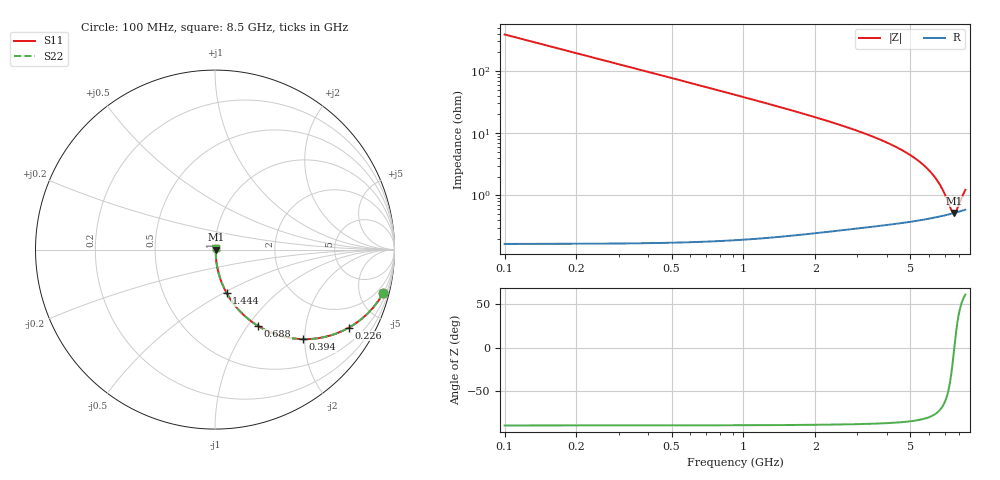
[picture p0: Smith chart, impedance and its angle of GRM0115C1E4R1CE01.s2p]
!Murata Part Number: GRM0115C1E4R1CE01
!These Parameters are Measured in Series Mode Connection
!Data Generated on Mar 30, 2021
!  o--ll--o
!Port1  Port2
!  o------o
!Operation Temp=25[degC], DC Bias Voltage=0[V]
!Freq. Start=100[MHz] Stop=9[GHz] 401[Steps]
# Hz S RI R 50
!Freq.(Hz) S11(Real) S11(Imag) S21(Real) S21(Imag) S12(Real) S12(Imag) S22(Real) S22(Imag)
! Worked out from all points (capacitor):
!   401 points, 100 MHz to 8.5 GHz, reference 50 ohm
!   read as one part in series: C = 4.1 pF near 142 MHz
!   lowest |Z| = 516 mohm at 7.618 GHz (marker M1)
!   series resonance near 7.639 GHz, so ESL is about 110 pH
!   S11 on the Smith chart (normalised r, x): 100 MHz: 1.00, -7.76; 226 MHz: 1.00, -3.43; 394 MHz: 1.00, -1.96; 688 MHz: 1.00, -1.12; 1.444 GHz: 1.00, -0.52; 8.5 GHz: 1.01, +0.02
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1e8  0.9377 -0.2416  0.0623 0.2416  0.0623 0.2416  0.9377 -0.2416
1.42e8  0.8818 -0.3226  0.1182 0.3226  0.1182 0.3226  0.8818 -0.3226
2.26e8  0.7463 -0.4347  0.2537 0.4347  0.2537 0.4347  0.7463 -0.4347
3.1e8  0.6096 -0.4872  0.3904 0.4872  0.3904 0.4872  0.6096 -0.4872
3.94e8  0.4911 -0.4991  0.5089 0.4991  0.5089 0.4991  0.4911 -0.4991
5.41e8  0.3378 -0.4717  0.6622 0.4717  0.6622 0.4717  0.3378 -0.4717
6.88e8  0.239 -0.4249  0.761 0.4249  0.761 0.4249  0.239 -0.4249
1.003e9  0.1273 -0.3308  0.8727 0.3308  0.8727 0.3308  0.1273 -0.3308
1.444e9  0.0644 -0.2414  0.9356 0.2414  0.9356 0.2414  0.0644 -0.2414
1.507e9  0.0593 -0.2318  0.9407 0.2318  0.9407 0.2318  0.0593 -0.2318
2.116e9  0.03 -0.1632  0.97 0.1632  0.97 0.1632  0.03 -0.1632
2.914e9  0.0154 -0.1112  0.9846 0.1112  0.9846 0.1112  0.0154 -0.1112
4.3e9  0.00713 -0.0606  0.9929 0.0606  0.9929 0.0606  0.00713 -0.0606
5.707e9  0.00491 -0.0295  0.9951 0.0295  0.9951 0.0295  0.00491 -0.0295
6.505e9  0.0047 -0.0161  0.9953 0.0161  0.9953 0.0161  0.0047 -0.0161
6.82e9  0.00475 -0.0113  0.9953 0.0113  0.9953 0.0113  0.00475 -0.0113
7.114e9  0.00485 -0.0071  0.9952 0.0071  0.9952 0.0071  0.00485 -0.0071
7.429e9  0.00501 -0.00277  0.995 0.00277  0.995 0.00277  0.00501 -0.00277
7.618e9  0.00513 -0.00027  0.9949 0.00027  0.9949 0.00027  0.00513 -0.00027
7.807e9  0.00527 0.00217  0.9947 -0.00217  0.9947 -0.00217  0.00527 0.00217
8.248e9  0.00566 0.00762  0.9943 -0.00762  0.9943 -0.00762  0.00566 0.00762
8.5e9  0.00592 0.0106  0.9941 -0.0106  0.9941 -0.0106  0.00592 0.0106
